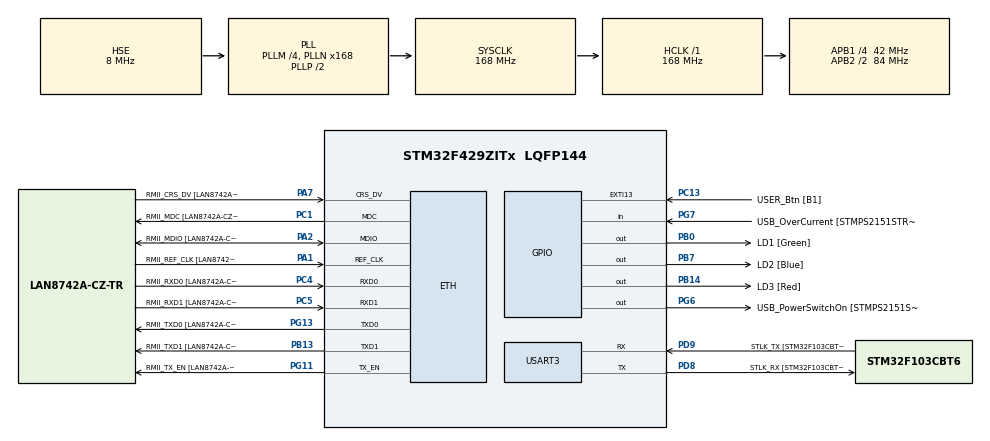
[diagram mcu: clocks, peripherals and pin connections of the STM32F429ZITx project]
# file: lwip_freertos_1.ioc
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ETH.MACAddr=00\:80\:E1\:00\:00\:43
ETH.MediaInterface=HAL_ETH_RMII_MODE
ETH.PHY_Name=LAN8742A_PHY_ADDRESS
ETH.PHY_Value=0
ETH.PhyAddress=0
FREERTOS.Tasks01=defaultTask,-1,1024,StartDefaultTask,Default,NULL,Dynamic,NULL,NULL;printerTask,-1,1024,StartprinterTask,Default,NULL,Dynamic,NULL,NULL
FREERTOS.configMAX_PRIORITIES=20
FREERTOS.configMINIMAL_STACK_SIZE=256
LWIP.BSP.number=1
LWIP.CMSIS_VERSION-Enabled=1
LWIP.ICMP_DEBUG=LWIP_DBG_ON
LWIP.IP_DEBUG=LWIP_DBG_ON
LWIP.LWIP_PERF=1
LWIP.MEM_SIZE=8192
LWIP.NETIF_DEBUG=LWIP_DBG_ON
LWIP.TCPIP_THREAD_PRIO=10
LWIP.Version=v2.1.2_Cube
LWIP0.BSP.STBoard=false
LWIP0.BSP.api=BSP_COMPONENT_DRIVER
LWIP0.BSP.component=LAN8742
LWIP0.BSP.instance=LAN8742
LWIP0.BSP.name=Driver_PHY
LWIP0.BSP.semaphore=S_LAN8742
LWIP0.BSP.solution=LAN8742
Mcu.Family=STM32F4
Mcu.Name=STM32F429ZITx
Mcu.Package=LQFP144
Mcu.UserConstants=LWIP_DEBUG,0
NVIC.ETH_IRQn=true\:5\:0\:false\:false\:true\:true\:false\:true\:true
NVIC.PriorityGroup=NVIC_PRIORITYGROUP_4
NVIC.TIM3_IRQn=true\:0\:0\:false\:false\:true\:false\:false\:true\:true
NVIC.TimeBase=TIM3_IRQn
NVIC.TimeBaseIP=TIM3
NVIC.USART3_IRQn=true\:5\:0\:false\:false\:true\:true\:true\:true\:true
PA1.GPIO_Label=RMII_REF_CLK [LAN8742A-CZ-TR_REFCLK0]
PA1.Mode=RMII
PA1.Signal=ETH_REF_CLK
PA10.GPIO_Label=USB_ID
PA10.Signal=USB_OTG_FS_ID
PA11.GPIO_Label=USB_DM
PA11.Signal=USB_OTG_FS_DM
PA12.GPIO_Label=USB_DP
PA12.Signal=USB_OTG_FS_DP
PA13.GPIO_Label=TMS
PA13.Mode=Serial_Wire
PA13.Signal=SYS_JTMS-SWDIO
PA14.GPIO_Label=TCK
PA14.Mode=Serial_Wire
PA14.Signal=SYS_JTCK-SWCLK
PA2.GPIO_Label=RMII_MDIO [LAN8742A-CZ-TR_MDIO]
PA2.Mode=RMII
PA2.Signal=ETH_MDIO
PA7.GPIO_Label=RMII_CRS_DV [LAN8742A-CZ-TR_CRS_DV]
PA7.Mode=RMII
PA7.Signal=ETH_CRS_DV
PA8.GPIO_Label=USB_SOF [TP1]
PA8.Signal=USB_OTG_FS_SOF
PA9.GPIO_Label=USB_VBUS
PA9.Signal=USB_OTG_FS_VBUS
PB0.GPIO_Label=LD1 [Green]
PB0.Signal=GPIO_Output
PB13.GPIO_Label=RMII_TXD1 [LAN8742A-CZ-TR_TXD1]
PB13.Mode=RMII
PB13.Signal=ETH_TXD1
PB14.GPIO_Label=LD3 [Red]
PB14.Signal=GPIO_Output
PB7.GPIO_Label=LD2 [Blue]
PB7.Signal=GPIO_Output
PC1.GPIO_Label=RMII_MDC [LAN8742A-CZ-TR_MDC]
PC1.Mode=RMII
PC1.Signal=ETH_MDC
PC13.GPIO_Label=USER_Btn [B1]
PC13.Signal=GPXTI13
PC14/OSC32_IN.Mode=LSE-External-Oscillator
PC14/OSC32_IN.Signal=RCC_OSC32_IN
PC15/OSC32_OUT.Mode=LSE-External-Oscillator
PC15/OSC32_OUT.Signal=RCC_OSC32_OUT
PC4.GPIO_Label=RMII_RXD0 [LAN8742A-CZ-TR_RXD0]
PC4.Mode=RMII
PC4.Signal=ETH_RXD0
PC5.GPIO_Label=RMII_RXD1 [LAN8742A-CZ-TR_RXD1]
PC5.Mode=RMII
PC5.Signal=ETH_RXD1
PD8.GPIO_Label=STLK_RX [STM32F103CBT6_PA3]
PD8.Mode=Asynchronous
PD8.Signal=USART3_TX
PD9.GPIO_Label=STLK_TX [STM32F103CBT6_PA2]
PD9.Mode=Asynchronous
PD9.Signal=USART3_RX
PG11.GPIO_Label=RMII_TX_EN [LAN8742A-CZ-TR_TXEN]
PG11.Mode=RMII
PG11.Signal=ETH_TX_EN
PG13.GPIO_Label=RMII_TXD0 [LAN8742A-CZ-TR_TXD0]
PG13.Mode=RMII
PG13.Signal=ETH_TXD0
PG6.GPIO_Label=USB_PowerSwitchOn [STMPS2151STR_EN]
PG6.Signal=GPIO_Output
PG7.GPIO_Label=USB_OverCurrent [STMPS2151STR_FAULT]
PG7.Signal=GPIO_Input
PH0/OSC_IN.GPIO_Label=MCO [STM32F103CBT6_PA8]
PH0/OSC_IN.Mode=HSE-External-Clock-Source
PH0/OSC_IN.Signal=RCC_OSC_IN
PH1/OSC_OUT.Mode=HSE-External-Clock-Source
PH1/OSC_OUT.Signal=RCC_OSC_OUT
ProjectManager.HeapSize=0x200
ProjectManager.StackSize=0x400
ProjectManager.TargetToolchain=STM32CubeIDE
RCC.48MHZClocksFreq_Value=48000000
RCC.AHBFreq_Value=168000000
RCC.APB1CLKDivider=RCC_HCLK_DIV4
RCC.APB1Freq_Value=42000000
RCC.APB1TimFreq_Value=84000000
RCC.APB2CLKDivider=RCC_HCLK_DIV2
RCC.APB2Freq_Value=84000000
RCC.APB2TimCLKDivider=2
RCC.APB2TimFreq_Value=168000000
RCC.CortexFreq_Value=168000000
RCC.HCLKFreq_Value=168000000
RCC.HSE_VALUE=8000000
RCC.HSI_VALUE=16000000
RCC.PLLM=4
RCC.PLLMUL=RCC_PLL_MUL9
RCC.PLLN=168
RCC.PLLQ=7
RCC.PLLSourceVirtual=RCC_PLLSOURCE_HSE
RCC.PRESCALERUSB=RCC_USBCLKSOURCE_PLL_DIV1_5
RCC.SYSCLKFreq_VALUE=168000000
RCC.SYSCLKSource=RCC_SYSCLKSOURCE_PLLCLK
RCC.SYSCLKSourceVirtual=RCC_SYSCLKSOURCE_PLLCLK
RCC.USBFreq_Value=48000000
RCC.VCOOutputFreq_Value=336000000
USART3.VirtualMode=VM_ASYNC
VP_FREERTOS_VS_CMSIS_V1.Mode=CMSIS_V1
VP_LWIP_VS_Enabled.Mode=Enabled
VP_SYS_VS_tim3.Mode=TIM3
board=NUCLEO-F429ZI

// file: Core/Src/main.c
/* USER CODE BEGIN Header */
/**
  ******************************************************************************
  * @file           : main.c
  * @brief          : Main program body
  ******************************************************************************
  * @attention
  *
  * <h2><center>&copy; Copyright (c) 2020 STMicroelectronics.
  * All rights reserved.</center></h2>
  *
  * This software component is licensed by ST under BSD 3-Clause license,
  * the "License"; You may not use this file except in compliance with the
  * License. You may obtain a copy of the License at:
  *                        opensource.org/licenses/BSD-3-Clause
  *
  ******************************************************************************
  */
/* USER CODE END Header */
#include "main.h"
#include "cmsis_os.h"
#include "lwip.h"

UART_HandleTypeDef huart3;

osThreadId defaultTaskHandle;
osThreadId printerTaskHandle;

void SystemClock_Config(void);
static void MX_GPIO_Init(void);
static void MX_USART3_UART_Init(void);
void StartDefaultTask(void const * argument);
void StartprinterTask(void const * argument);

int main(void)
{

  /* MCU Configuration--------------------------------------------------------*/

  /* Reset of all peripherals, Initializes the Flash interface and the Systick. */
  HAL_Init();

  /* Configure the system clock */
  SystemClock_Config();

  /* Initialize all configured peripherals */
  MX_GPIO_Init();
  MX_USART3_UART_Init();
  /* USER CODE BEGIN 2 */

  printf("Hello\r\n");
  printf(" Hello\r\n");
  printf("  Hello\r\n");

  /* USER CODE END 2 */

  /* Create the thread(s) */
  /* definition and creation of defaultTask */
  osThreadDef(defaultTask, StartDefaultTask, osPriorityBelowNormal, 0, 1024);
  defaultTaskHandle = osThreadCreate(osThread(defaultTask), NULL);

  /* definition and creation of printerTask */
  osThreadDef(printerTask, StartprinterTask, osPriorityBelowNormal, 0, 1024);
  printerTaskHandle = osThreadCreate(osThread(printerTask), NULL);

  /* Start scheduler */
  osKernelStart();

  /* We should never get here as control is now taken by the scheduler */

  /* Infinite loop */
  while (1)
  {

  }
}

void SystemClock_Config(void)
{
  RCC_OscInitTypeDef RCC_OscInitStruct = {0};
  RCC_ClkInitTypeDef RCC_ClkInitStruct = {0};

  /** Configure the main internal regulator output voltage
  */
  __HAL_RCC_PWR_CLK_ENABLE();
  __HAL_PWR_VOLTAGESCALING_CONFIG(PWR_REGULATOR_VOLTAGE_SCALE1);

  /** Initializes the RCC Oscillators according to the specified parameters
  * in the RCC_OscInitTypeDef structure.
  */
  RCC_OscInitStruct.OscillatorType = RCC_OSCILLATORTYPE_HSE;
  RCC_OscInitStruct.HSEState = RCC_HSE_BYPASS;
  RCC_OscInitStruct.PLL.PLLState = RCC_PLL_ON;
  RCC_OscInitStruct.PLL.PLLSource = RCC_PLLSOURCE_HSE;
  RCC_OscInitStruct.PLL.PLLM = 4;
  RCC_OscInitStruct.PLL.PLLN = 168;
  RCC_OscInitStruct.PLL.PLLP = RCC_PLLP_DIV2;
  RCC_OscInitStruct.PLL.PLLQ = 7;
  if (HAL_RCC_OscConfig(&RCC_OscInitStruct) != HAL_OK)
  {
    Error_Handler();
  }

  /** Initializes the CPU, AHB and APB buses clocks
  */
  RCC_ClkInitStruct.ClockType = RCC_CLOCKTYPE_HCLK|RCC_CLOCKTYPE_SYSCLK
                              |RCC_CLOCKTYPE_PCLK1|RCC_CLOCKTYPE_PCLK2;
  RCC_ClkInitStruct.SYSCLKSource = RCC_SYSCLKSOURCE_PLLCLK;
  RCC_ClkInitStruct.AHBCLKDivider = RCC_SYSCLK_DIV1;
  RCC_ClkInitStruct.APB1CLKDivider = RCC_HCLK_DIV4;
  RCC_ClkInitStruct.APB2CLKDivider = RCC_HCLK_DIV2;

  if (HAL_RCC_ClockConfig(&RCC_ClkInitStruct, FLASH_LATENCY_5) != HAL_OK)
  {
    Error_Handler();
  }
}

static void MX_USART3_UART_Init(void)
{

  huart3.Instance = USART3;
  huart3.Init.BaudRate = 115200;
  huart3.Init.WordLength = UART_WORDLENGTH_8B;
  huart3.Init.StopBits = UART_STOPBITS_1;
  huart3.Init.Parity = UART_PARITY_NONE;
  huart3.Init.Mode = UART_MODE_TX_RX;
  huart3.Init.HwFlowCtl = UART_HWCONTROL_NONE;
  huart3.Init.OverSampling = UART_OVERSAMPLING_16;
  if (HAL_UART_Init(&huart3) != HAL_OK)
  {
    Error_Handler();
  }

}

static void MX_GPIO_Init(void)
{
  GPIO_InitTypeDef GPIO_InitStruct = {0};

  /* GPIO Ports Clock Enable */
  __HAL_RCC_GPIOC_CLK_ENABLE();
  __HAL_RCC_GPIOH_CLK_ENABLE();
  __HAL_RCC_GPIOA_CLK_ENABLE();
  __HAL_RCC_GPIOB_CLK_ENABLE();
  __HAL_RCC_GPIOD_CLK_ENABLE();
  __HAL_RCC_GPIOG_CLK_ENABLE();

  /*Configure GPIO pin Output Level */
  HAL_GPIO_WritePin(GPIOB, LD1_Pin|LD3_Pin|LD2_Pin, GPIO_PIN_RESET);

  /*Configure GPIO pin Output Level */
  HAL_GPIO_WritePin(USB_PowerSwitchOn_GPIO_Port, USB_PowerSwitchOn_Pin, GPIO_PIN_RESET);

  /*Configure GPIO pin : USER_Btn_Pin */
  GPIO_InitStruct.Pin = USER_Btn_Pin;
  GPIO_InitStruct.Mode = GPIO_MODE_IT_RISING;
  GPIO_InitStruct.Pull = GPIO_NOPULL;
  HAL_GPIO_Init(USER_Btn_GPIO_Port, &GPIO_InitStruct);

  /*Configure GPIO pins : LD1_Pin LD3_Pin LD2_Pin */
  GPIO_InitStruct.Pin = LD1_Pin|LD3_Pin|LD2_Pin;
  GPIO_InitStruct.Mode = GPIO_MODE_OUTPUT_PP;
  GPIO_InitStruct.Pull = GPIO_NOPULL;
  GPIO_InitStruct.Speed = GPIO_SPEED_FREQ_LOW;
  HAL_GPIO_Init(GPIOB, &GPIO_InitStruct);

  /*Configure GPIO pin : USB_PowerSwitchOn_Pin */
  GPIO_InitStruct.Pin = USB_PowerSwitchOn_Pin;
  GPIO_InitStruct.Mode = GPIO_MODE_OUTPUT_PP;
  GPIO_InitStruct.Pull = GPIO_NOPULL;
  GPIO_InitStruct.Speed = GPIO_SPEED_FREQ_LOW;
  HAL_GPIO_Init(USB_PowerSwitchOn_GPIO_Port, &GPIO_InitStruct);

  /*Configure GPIO pin : USB_OverCurrent_Pin */
  GPIO_InitStruct.Pin = USB_OverCurrent_Pin;
  GPIO_InitStruct.Mode = GPIO_MODE_INPUT;
  GPIO_InitStruct.Pull = GPIO_NOPULL;
  HAL_GPIO_Init(USB_OverCurrent_GPIO_Port, &GPIO_InitStruct);

  /*Configure GPIO pins : USB_SOF_Pin USB_ID_Pin USB_DM_Pin USB_DP_Pin */
  GPIO_InitStruct.Pin = USB_SOF_Pin|USB_ID_Pin|USB_DM_Pin|USB_DP_Pin;
  GPIO_InitStruct.Mode = GPIO_MODE_AF_PP;
  GPIO_InitStruct.Pull = GPIO_NOPULL;
  GPIO_InitStruct.Speed = GPIO_SPEED_FREQ_VERY_HIGH;
  GPIO_InitStruct.Alternate = GPIO_AF10_OTG_FS;
  HAL_GPIO_Init(GPIOA, &GPIO_InitStruct);

  /*Configure GPIO pin : USB_VBUS_Pin */
  GPIO_InitStruct.Pin = USB_VBUS_Pin;
  GPIO_InitStruct.Mode = GPIO_MODE_INPUT;
  GPIO_InitStruct.Pull = GPIO_NOPULL;
  HAL_GPIO_Init(USB_VBUS_GPIO_Port, &GPIO_InitStruct);

}

/* USER CODE BEGIN 4 */
// http://www.emcu.eu/how-to-implement-printf-for-send-message-via-usb-on-stm32-nucleo-boards-using-atollic/
int __io_putchar(int ch)
{
	/**/
	uint8_t c[1];
	c[0] = ch & 0x00FF;
	HAL_UART_Transmit(&huart3, &*c, 1, 10);
	return ch;
	/**/
	//return 0;
}

int _write(int file,char *ptr, int len)
{
 int DataIdx;
 for(DataIdx= 0; DataIdx< len; DataIdx++)
 {
 __io_putchar(*ptr++);
 }
return len;
}
/* USER CODE END 4 */

void StartDefaultTask(void const * argument)
{
  /* init code for LWIP */
  MX_LWIP_Init();
  /* USER CODE BEGIN 5 */
  /* Infinite loop */
  for(;;)
  {
      //printf("DefaultTask\r\n");
	  printf(",");
	  fflush(stdout);
      osDelay(500);
  }
  /* USER CODE END 5 */
}

/* USER CODE BEGIN Header_StartprinterTask */
/**
* @brief Function implementing the printerTask thread.
* @param argument: Not used
* @retval None
*/
#include "lwip.h" //MX_LWIP_Process
/* USER CODE END Header_StartprinterTask */
void StartprinterTask(void const * argument)
{
  /* USER CODE BEGIN StartprinterTask */
  /* Infinite loop */
  for(;;)
  {
	  //MX_LWIP_Process();
	  //printf("printerTask\r\n");
	  printf(".");
	  fflush(stdout);
      osDelay(1000);
  }
  /* USER CODE END StartprinterTask */
}

void HAL_TIM_PeriodElapsedCallback(TIM_HandleTypeDef *htim)
{
  if (htim->Instance == TIM3) {
    HAL_IncTick();
  }
}

void Error_Handler(void)
{
}

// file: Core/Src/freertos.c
/* USER CODE BEGIN Header */
/**
  ******************************************************************************
  * File Name          : freertos.c
  * Description        : Code for freertos applications
  ******************************************************************************
  * @attention
  *
  * <h2><center>&copy; Copyright (c) 2020 STMicroelectronics.
  * All rights reserved.</center></h2>
  *
  * This software component is licensed by ST under Ultimate Liberty license
  * SLA0044, the "License"; You may not use this file except in compliance with
  * the License. You may obtain a copy of the License at:
  *                             www.st.com/SLA0044
  *
  ******************************************************************************
  */
/* USER CODE END Header */

#include "FreeRTOS.h"
#include "task.h"
#include "main.h"

/* GetIdleTaskMemory prototype (linked to static allocation support) */
void vApplicationGetIdleTaskMemory( StaticTask_t **ppxIdleTaskTCBBuffer, StackType_t **ppxIdleTaskStackBuffer, uint32_t *pulIdleTaskStackSize );

/* USER CODE BEGIN GET_IDLE_TASK_MEMORY */
static StaticTask_t xIdleTaskTCBBuffer;
static StackType_t xIdleStack[configMINIMAL_STACK_SIZE];

void vApplicationGetIdleTaskMemory( StaticTask_t **ppxIdleTaskTCBBuffer, StackType_t **ppxIdleTaskStackBuffer, uint32_t *pulIdleTaskStackSize )
{
  *ppxIdleTaskTCBBuffer = &xIdleTaskTCBBuffer;
  *ppxIdleTaskStackBuffer = &xIdleStack[0];
  *pulIdleTaskStackSize = configMINIMAL_STACK_SIZE;
  /* place for user code */
}
/* USER CODE END GET_IDLE_TASK_MEMORY */
